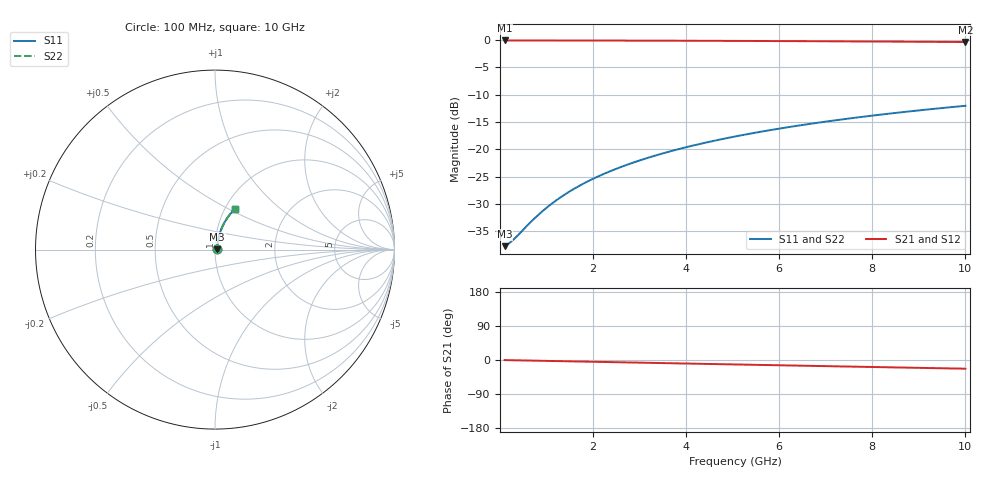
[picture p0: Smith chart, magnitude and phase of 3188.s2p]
# Hz S RI R 50.00
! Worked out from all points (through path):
!   100 points, 100 MHz to 10 GHz, reference 50 ohm
!   highest |S21| = -0.11 dB at 100 MHz (marker M1); lowest = -0.4 dB at 10 GHz (marker M2)
!   group delay of S21, straight-line fit = 6.38 ps
!   lowest |S11| = -37.7 dB at 100 MHz (marker M3), VSWR 1.03, Z = 51.3 + j0.263 ohm
!   |S11| at or under -10 dB: start of sweep to end of sweep
!   |S22| runs from -37.7 to -12.0 dB; largest |S21 - S12| = 0
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1e8  0.0128 0.00256  0.9872 -0.00402  0.9872 -0.00402  0.0128 0.00256
2e8  0.0129 0.00512  0.9871 -0.00804  0.9871 -0.00804  0.0129 0.00512
3e8  0.013 0.00767  0.987 -0.0121  0.987 -0.0121  0.013 0.00767
6e8  0.0134 0.0153  0.9865 -0.0241  0.9865 -0.0241  0.0134 0.0153
8e8  0.0138 0.0204  0.9861 -0.0322  0.9861 -0.0322  0.0138 0.0204
9e8  0.014 0.023  0.9859 -0.0362  0.9859 -0.0362  0.014 0.023
1.1e9  0.0145 0.0281  0.9854 -0.0442  0.9854 -0.0442  0.0145 0.0281
1.4e9  0.0153 0.0357  0.9845 -0.0562  0.9845 -0.0562  0.0153 0.0357
1.6e9  0.016 0.0408  0.9837 -0.0642  0.9837 -0.0642  0.016 0.0408
1.8e9  0.0167 0.0458  0.9829 -0.0722  0.9829 -0.0722  0.0167 0.0458
2.1e9  0.018 0.0534  0.9815 -0.0841  0.9815 -0.0841  0.018 0.0534
2.5e9  0.0199 0.0634  0.9794 -0.1  0.9794 -0.1  0.0199 0.0634
2.9e9  0.0222 0.0733  0.9768 -0.1158  0.9768 -0.1158  0.0222 0.0733
3.4e9  0.0255 0.0856  0.9732 -0.1354  0.9732 -0.1354  0.0255 0.0856
3.8e9  0.0285 0.0953  0.9699 -0.151  0.9699 -0.151  0.0285 0.0953
4.2e9  0.0318 0.1048  0.9663 -0.1664  0.9663 -0.1664  0.0318 0.1048
5.1e9  0.0402 0.1259  0.9569 -0.2007  0.9569 -0.2007  0.0402 0.1259
5.9e9  0.049 0.144  0.9472 -0.2306  0.9472 -0.2306  0.049 0.144
6.7e9  0.0588 0.1614  0.9362 -0.2598  0.9362 -0.2598  0.0588 0.1614
7.5e9  0.0697 0.178  0.9241 -0.2883  0.9241 -0.2883  0.0697 0.178
8.4e9  0.0831 0.1958  0.9091 -0.3194  0.9091 -0.3194  0.0831 0.1958
1e10  0.1095 0.2245  0.8794 -0.372  0.8794 -0.372  0.1095 0.2245
